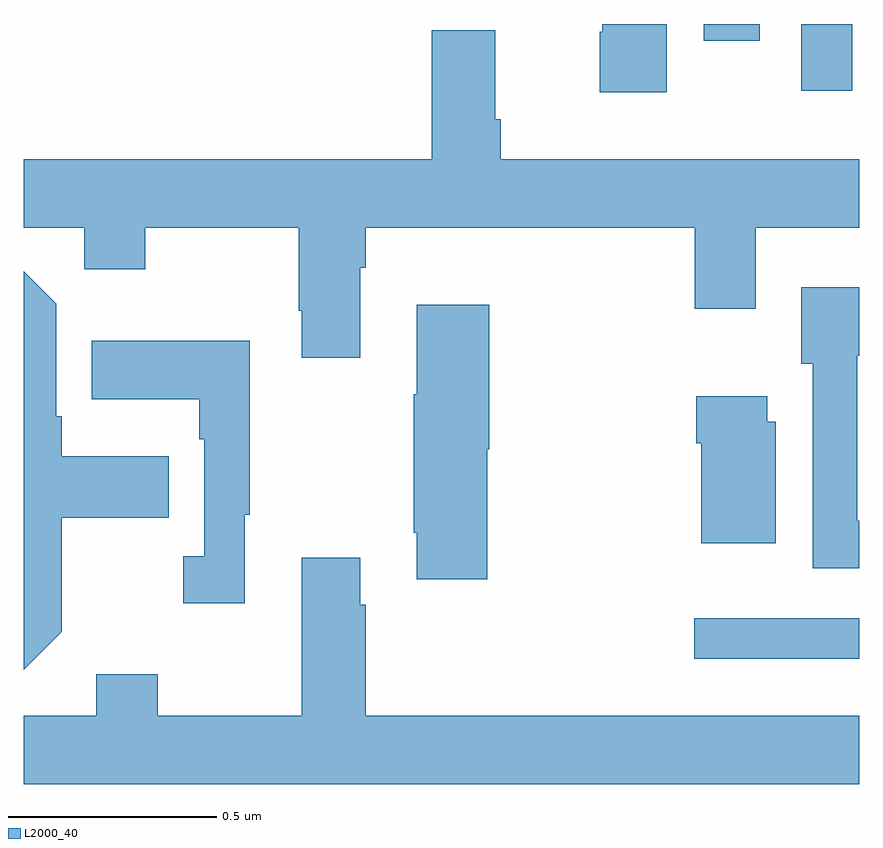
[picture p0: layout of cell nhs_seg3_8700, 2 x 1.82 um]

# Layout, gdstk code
import gdstk
lib = gdstk.Library(unit=1e-6, precision=1e-09)
def R(c, l, rs):  # rectangles x0, y0, x1, y1
    for r in rs: c.add(gdstk.rectangle(r[:2], r[2:], *l))
def P(c, l, *ps):  # polygons
    for p in ps: c.add(gdstk.Polygon(p, *l))
L2000_40 = (2000, 40)

nhs_seg3_8700 = lib.new_cell('nhs_seg3_8700')
R(nhs_seg3_8700, L2000_40, [(220.605,703.88,221,703.977), (220.862,705.24,220.984,705.4), (220.628,705.36,220.762,705.4)])
P(nhs_seg3_8700, L2000_40, [(220.54,705.4),(220.385,705.4),(220.385,705.381),(220.379,705.381),(220.379,705.237),(220.54,705.237)],
  [(219.805,704.816),(219.818,704.816),(219.818,704.912),(220.606,704.912),(220.606,704.718),(220.753,704.718),(220.753,704.912),(221,704.912),(221,705.076),(220.142,705.076),(220.142,705.172),(220.129,705.172),(220.129,705.385),(219.977,705.385),(219.977,705.076),(219,705.076),(219,704.912),(219.144,704.912),(219.144,704.813),(219.291,704.813),(219.291,704.912),(219.658,704.912),(219.658,704.713),(219.665,704.713),(219.665,704.601),(219.805,704.601)],
  [(219.091,703.945),(219.091,704.218),(219.347,704.218),(219.347,704.365),(219.091,704.365),(219.091,704.461),(219.078,704.461),(219.078,704.73),(219,704.808),(219,703.854)],
  [(221,704.21),(220.996,704.21),(220.996,704.606),(221,704.606),(221,704.77),(220.862,704.77),(220.862,704.586),(220.889,704.586),(220.889,704.097),(221,704.097)],
  [(220.109,704.382),(220.114,704.382),(220.114,704.728),(219.941,704.728),(219.941,704.513),(219.934,704.513),(219.934,704.182),(219.941,704.182),(219.941,704.07),(220.109,704.07)],
  [(219.529,704.225),(219.541,704.225),(219.541,704.641),(219.163,704.641),(219.163,704.501),(219.42,704.501),(219.42,704.405),(219.432,704.405),(219.432,704.126),(219.381,704.126),(219.381,704.013),(219.529,704.013)],
  [(220.801,704.448),(220.78,704.448),(220.78,704.509),(220.61,704.509),(220.61,704.396),(220.622,704.396),(220.622,704.156),(220.801,704.156)],
  [(221,703.744),(219.818,703.744),(219.818,704.009),(219.805,704.009),(219.805,704.122),(219.665,704.122),(219.665,703.744),(219.321,703.744),(219.321,703.843),(219.173,703.843),(219.173,703.744),(219,703.744),(219,703.58),(221,703.58)])

lib.write_gds('nhs_seg3_8700.gds')
